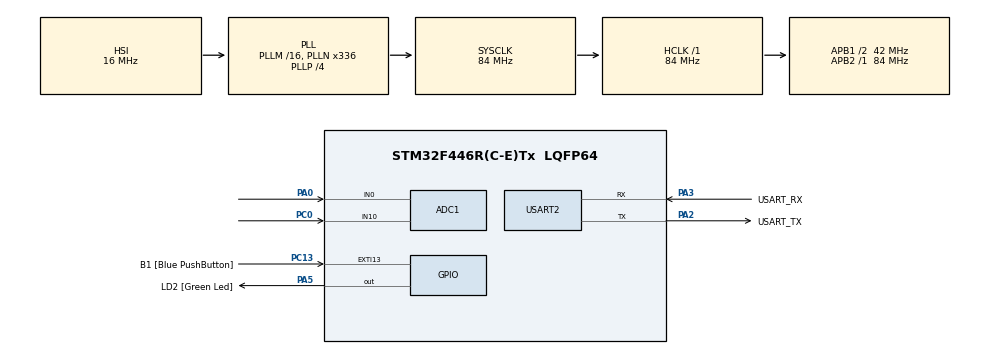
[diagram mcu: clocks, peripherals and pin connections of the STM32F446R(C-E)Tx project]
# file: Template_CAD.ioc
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ADC1.Channel-0\#ChannelRegularConversion=ADC_CHANNEL_0
ADC1.Channel-1\#ChannelRegularConversion=ADC_CHANNEL_10
ADC1.Channel-2\#ChannelRegularConversion=ADC_CHANNEL_TEMPSENSOR
ADC1.NbrOfConversion=3
ADC1.NbrOfConversionFlag=1
ADC1.Rank-0\#ChannelRegularConversion=1
ADC1.Rank-1\#ChannelRegularConversion=2
ADC1.Rank-2\#ChannelRegularConversion=3
ADC1.SamplingTime-0\#ChannelRegularConversion=ADC_SAMPLETIME_480CYCLES
ADC1.SamplingTime-1\#ChannelRegularConversion=ADC_SAMPLETIME_480CYCLES
ADC1.SamplingTime-2\#ChannelRegularConversion=ADC_SAMPLETIME_480CYCLES
ADC1.ScanConvMode=ENABLE
ADC1.master=1
Mcu.Family=STM32F4
Mcu.Name=STM32F446R(C-E)Tx
Mcu.Package=LQFP64
NVIC.PriorityGroup=NVIC_PRIORITYGROUP_0
PA0-WKUP.Signal=ADCx_IN0
PA13.GPIO_Label=TMS
PA13.Mode=Serial_Wire
PA13.Signal=SYS_JTMS-SWDIO
PA14.GPIO_Label=TCK
PA14.Mode=Serial_Wire
PA14.Signal=SYS_JTCK-SWCLK
PA2.GPIO_Label=USART_TX
PA2.Mode=Asynchronous
PA2.Signal=USART2_TX
PA3.GPIO_Label=USART_RX
PA3.Mode=Asynchronous
PA3.Signal=USART2_RX
PA5.GPIO_Label=LD2 [Green Led]
PA5.Signal=GPIO_Output
PB3.GPIO_Label=SWO
PB3.Signal=SYS_JTDO-SWO
PC0.Signal=ADCx_IN10
PC13.GPIO_Label=B1 [Blue PushButton]
PC13.GPIO_ModeDefaultEXTI=GPIO_MODE_IT_FALLING
PC13.Signal=GPXTI13
PC14-OSC32_IN.Mode=LSE-External-Oscillator
PC14-OSC32_IN.Signal=RCC_OSC32_IN
PC15-OSC32_OUT.Mode=LSE-External-Oscillator
PC15-OSC32_OUT.Signal=RCC_OSC32_OUT
PH0-OSC_IN.Mode=HSE-External-Oscillator
PH0-OSC_IN.Signal=RCC_OSC_IN
PH1-OSC_OUT.Mode=HSE-External-Oscillator
PH1-OSC_OUT.Signal=RCC_OSC_OUT
ProjectManager.HeapSize=0x200
ProjectManager.StackSize=0x400
ProjectManager.TargetToolchain=STM32CubeIDE
RCC.48MHZClocksFreq_Value=84000000
RCC.AHBFreq_Value=84000000
RCC.APB1CLKDivider=RCC_HCLK_DIV2
RCC.APB1Freq_Value=42000000
RCC.APB1TimFreq_Value=84000000
RCC.APB2Freq_Value=84000000
RCC.APB2TimFreq_Value=84000000
RCC.CortexFreq_Value=84000000
RCC.FLatency-AdvancedSettings=FLASH_LATENCY_2
RCC.HCLKFreq_Value=84000000
RCC.HSE_VALUE=8000000
RCC.HSI_VALUE=16000000
RCC.PLLN=336
RCC.PLLP=RCC_PLLP_DIV4
RCC.SYSCLKFreq_VALUE=84000000
RCC.SYSCLKSource=RCC_SYSCLKSOURCE_PLLCLK
RCC.USBFreq_Value=168000000
RCC.VCOOutputFreq_Value=336000000
SH.ADCx_IN0.0=ADC1_IN0,IN0
SH.ADCx_IN10.0=ADC1_IN10,IN10
USART2.VirtualMode=VM_ASYNC
VP_ADC1_TempSens_Input.Mode=IN-TempSens
board=NUCLEO-F446RE

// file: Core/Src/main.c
/* USER CODE BEGIN Header */
/**
  ******************************************************************************
  * @file           : main.c
  * @brief          : Main program body
  ******************************************************************************
  * @attention
  *
  * Copyright (c) 2025 STMicroelectronics.
  * All rights reserved.
  *
  * This software is licensed under terms that can be found in the LICENSE file
  * in the root directory of this software component.
  * If no LICENSE file comes with this software, it is provided AS-IS.
  *
  ******************************************************************************
  */
/* USER CODE END Header */
#include "main.h"

/* USER CODE BEGIN Includes */
#include <stdio.h>
/* USER CODE END Includes */

ADC_HandleTypeDef hadc1;

UART_HandleTypeDef huart2;

void SystemClock_Config(void);
static void MX_GPIO_Init(void);
static void MX_USART2_UART_Init(void);
static void MX_ADC1_Init(void);
/* USER CODE BEGIN PFP */
void ADC1_Init(void);
/* USER CODE END PFP */

int main(void)
{

  /* USER CODE BEGIN 1 */
	uint16_t CAD;
	uint32_t size;
	char sCAD[20] = {0};
	int32_t VSENSE;
	int32_t Temp;
	int32_t X, Y, T;
  /* USER CODE END 1 */

  /* MCU Configuration--------------------------------------------------------*/

  /* Reset of all peripherals, Initializes the Flash interface and the Systick. */
  HAL_Init();

  /* Configure the system clock */
  SystemClock_Config();

  /* Initialize all configured peripherals */
  MX_GPIO_Init();
  MX_USART2_UART_Init();
  MX_ADC1_Init();
  /* USER CODE BEGIN 2 */
  //ADC1_Init();
  /* USER CODE END 2 */

  /* Infinite loop */
  while (1)
  {

    /* USER CODE BEGIN 3 */
//	  //MODO RAIZ
//	  //Dispara uma conversão
//	  ADC1->CR2 |= ADC_CR2_SWSTART;
//	  //Espera concluir a conversão
//	  while(!(ADC1->SR & ADC_SR_EOC));
//	  //Lê o resultado
//	  CAD = ADC1->DR & 0xFFF;
//	  //Converte para string
//	  size = sprintf(sCAD,"%u\r\n",CAD);//Incluir stdio.h
//	  //Envia pela serial
//	  HAL_UART_Transmit(&huart2, sCAD, size, 100);
//	  //Delay
//	  HAL_Delay(1000);

	  //MODO NUTELLA (3 canais com sequenciador - 0 (Arduino A0), 10 (Arduino A5) e Temperatura)
	  HAL_ADC_Start(&hadc1);
	  if(HAL_ADC_PollForConversion(&hadc1, 5) == HAL_OK)
	  	  X = HAL_ADC_GetValue(&hadc1);
	  if(HAL_ADC_PollForConversion(&hadc1, 5) == HAL_OK)
	  	  Y = HAL_ADC_GetValue(&hadc1);
	  if(HAL_ADC_PollForConversion(&hadc1, 5) == HAL_OK)
	  {
		  T = HAL_ADC_GetValue(&hadc1);
		  VSENSE = T * 3300 / 4096;
		  Temp = (VSENSE - 760) * 10 / 25 + 25;
	  }

	  size = sprintf(sCAD,"X = %u\r\n", X);
	  HAL_UART_Transmit(&huart2, sCAD, size, 100);

	  size = sprintf(sCAD,"Y = %u\r\n", Y);
	  HAL_UART_Transmit(&huart2, sCAD, size, 100);

	  size = sprintf(sCAD, "CAD = %u\r\n", T);
	  HAL_UART_Transmit(&huart2, sCAD, size, 100);

	  size = sprintf(sCAD, "VSENSE = %u mV\r\n", VSENSE);
	  HAL_UART_Transmit(&huart2, sCAD, size, 100);

	  size = sprintf(sCAD, "Temp = %u graus\r\n", Temp);
	  HAL_UART_Transmit(&huart2, sCAD, size, 100);

	  HAL_Delay(1000);
  }
  /* USER CODE END 3 */
}

void SystemClock_Config(void)
{
  RCC_OscInitTypeDef RCC_OscInitStruct = {0};
  RCC_ClkInitTypeDef RCC_ClkInitStruct = {0};

  /** Configure the main internal regulator output voltage
  */
  __HAL_RCC_PWR_CLK_ENABLE();
  __HAL_PWR_VOLTAGESCALING_CONFIG(PWR_REGULATOR_VOLTAGE_SCALE3);

  /** Initializes the RCC Oscillators according to the specified parameters
  * in the RCC_OscInitTypeDef structure.
  */
  RCC_OscInitStruct.OscillatorType = RCC_OSCILLATORTYPE_HSI;
  RCC_OscInitStruct.HSIState = RCC_HSI_ON;
  RCC_OscInitStruct.HSICalibrationValue = RCC_HSICALIBRATION_DEFAULT;
  RCC_OscInitStruct.PLL.PLLState = RCC_PLL_ON;
  RCC_OscInitStruct.PLL.PLLSource = RCC_PLLSOURCE_HSI;
  RCC_OscInitStruct.PLL.PLLM = 16;
  RCC_OscInitStruct.PLL.PLLN = 336;
  RCC_OscInitStruct.PLL.PLLP = RCC_PLLP_DIV4;
  RCC_OscInitStruct.PLL.PLLQ = 2;
  RCC_OscInitStruct.PLL.PLLR = 2;
  if (HAL_RCC_OscConfig(&RCC_OscInitStruct) != HAL_OK)
  {
    Error_Handler();
  }

  /** Initializes the CPU, AHB and APB buses clocks
  */
  RCC_ClkInitStruct.ClockType = RCC_CLOCKTYPE_HCLK|RCC_CLOCKTYPE_SYSCLK
                              |RCC_CLOCKTYPE_PCLK1|RCC_CLOCKTYPE_PCLK2;
  RCC_ClkInitStruct.SYSCLKSource = RCC_SYSCLKSOURCE_PLLCLK;
  RCC_ClkInitStruct.AHBCLKDivider = RCC_SYSCLK_DIV1;
  RCC_ClkInitStruct.APB1CLKDivider = RCC_HCLK_DIV2;
  RCC_ClkInitStruct.APB2CLKDivider = RCC_HCLK_DIV1;

  if (HAL_RCC_ClockConfig(&RCC_ClkInitStruct, FLASH_LATENCY_2) != HAL_OK)
  {
    Error_Handler();
  }
}

static void MX_ADC1_Init(void)
{

  ADC_ChannelConfTypeDef sConfig = {0};

  /** Configure the global features of the ADC (Clock, Resolution, Data Alignment and number of conversion)
  */
  hadc1.Instance = ADC1;
  hadc1.Init.ClockPrescaler = ADC_CLOCK_SYNC_PCLK_DIV4;
  hadc1.Init.Resolution = ADC_RESOLUTION_12B;
  hadc1.Init.ScanConvMode = ENABLE;
  hadc1.Init.ContinuousConvMode = DISABLE;
  hadc1.Init.DiscontinuousConvMode = DISABLE;
  hadc1.Init.ExternalTrigConvEdge = ADC_EXTERNALTRIGCONVEDGE_NONE;
  hadc1.Init.ExternalTrigConv = ADC_SOFTWARE_START;
  hadc1.Init.DataAlign = ADC_DATAALIGN_RIGHT;
  hadc1.Init.NbrOfConversion = 3;
  hadc1.Init.DMAContinuousRequests = DISABLE;
  hadc1.Init.EOCSelection = ADC_EOC_SINGLE_CONV;
  if (HAL_ADC_Init(&hadc1) != HAL_OK)
  {
    Error_Handler();
  }

  /** Configure for the selected ADC regular channel its corresponding rank in the sequencer and its sample time.
  */
  sConfig.Channel = ADC_CHANNEL_0;
  sConfig.Rank = 1;
  sConfig.SamplingTime = ADC_SAMPLETIME_480CYCLES;
  if (HAL_ADC_ConfigChannel(&hadc1, &sConfig) != HAL_OK)
  {
    Error_Handler();
  }

  /** Configure for the selected ADC regular channel its corresponding rank in the sequencer and its sample time.
  */
  sConfig.Channel = ADC_CHANNEL_10;
  sConfig.Rank = 2;
  if (HAL_ADC_ConfigChannel(&hadc1, &sConfig) != HAL_OK)
  {
    Error_Handler();
  }

  /** Configure for the selected ADC regular channel its corresponding rank in the sequencer and its sample time.
  */
  sConfig.Channel = ADC_CHANNEL_TEMPSENSOR;
  sConfig.Rank = 3;
  if (HAL_ADC_ConfigChannel(&hadc1, &sConfig) != HAL_OK)
  {
    Error_Handler();
  }

}

static void MX_USART2_UART_Init(void)
{

  huart2.Instance = USART2;
  huart2.Init.BaudRate = 115200;
  huart2.Init.WordLength = UART_WORDLENGTH_8B;
  huart2.Init.StopBits = UART_STOPBITS_1;
  huart2.Init.Parity = UART_PARITY_NONE;
  huart2.Init.Mode = UART_MODE_TX_RX;
  huart2.Init.HwFlowCtl = UART_HWCONTROL_NONE;
  huart2.Init.OverSampling = UART_OVERSAMPLING_16;
  if (HAL_UART_Init(&huart2) != HAL_OK)
  {
    Error_Handler();
  }

}

static void MX_GPIO_Init(void)
{
  GPIO_InitTypeDef GPIO_InitStruct = {0};

  /* GPIO Ports Clock Enable */
  __HAL_RCC_GPIOC_CLK_ENABLE();
  __HAL_RCC_GPIOH_CLK_ENABLE();
  __HAL_RCC_GPIOA_CLK_ENABLE();
  __HAL_RCC_GPIOB_CLK_ENABLE();

  /*Configure GPIO pin Output Level */
  HAL_GPIO_WritePin(LD2_GPIO_Port, LD2_Pin, GPIO_PIN_RESET);

  /*Configure GPIO pin : B1_Pin */
  GPIO_InitStruct.Pin = B1_Pin;
  GPIO_InitStruct.Mode = GPIO_MODE_IT_FALLING;
  GPIO_InitStruct.Pull = GPIO_NOPULL;
  HAL_GPIO_Init(B1_GPIO_Port, &GPIO_InitStruct);

  /*Configure GPIO pin : LD2_Pin */
  GPIO_InitStruct.Pin = LD2_Pin;
  GPIO_InitStruct.Mode = GPIO_MODE_OUTPUT_PP;
  GPIO_InitStruct.Pull = GPIO_NOPULL;
  GPIO_InitStruct.Speed = GPIO_SPEED_FREQ_LOW;
  HAL_GPIO_Init(LD2_GPIO_Port, &GPIO_InitStruct);

}

/* USER CODE BEGIN 4 */
//Função de inicialização do ADC1 e EA0 (PA0 - Arduino A0)
//modo polling (one-shot), APB2 (PCLK2) = 42 MHz
void ADC1_Init(void)
{
	uint32_t tmpreg = 0;
	//Configurar os GPIOs
	//Ativar o clock
	RCC->AHB1ENR |= RCC_AHB1ENR_GPIOAEN;
	//Aguardar o clock estabilizar
	tmpreg = RCC->AHB1ENR;
	//Definir o modo de funcionamento analógico (11)
	GPIOA->MODER |= GPIO_MODER_MODE0;
	//Desativar pullup e pulldown
	GPIOA->PUPDR &= ~GPIO_PUPDR_PUPD0;
	//Configurar o ADC1
	//Ativar o clock
	RCC->APB2ENR |=  RCC_APB2ENR_ADC1EN;
	//Aguardar o clock estabilizar
	tmpreg = RCC->APB2ENR;
	//Desabilitar o ADC1
	ADC1->CR2 &= ~ADC_CR2_ADON;
	//Habilitar SCAN nos canais regulares
	ADC1->CR1 |= ADC_CR1_SCAN_Msk;
	//Programar a resolução (00 = 12 bits)
	ADC1->CR1 &= ~ADC_CR1_RES;
	//Ajustar o alinhamento do resultado (0 = direita)
	ADC1->CR2 &= ~ADC_CR2_ALIGN;
	//Habilitar sinalização do bit EOC no final de uma conversão
	ADC1->CR2 |= ADC_CR2_EOCS;
	//Ajustar o tempo de amostragem do canal 0 (001 = 15 ciclos de //clock)
	ADC1->SMPR2 |= ADC_SMPR2_SMP0_0;
	//Definir a sequência regular de conversão (apenas 1 //conversão, canal 0)
	ADC1->SQR1 &= ~ADC_SQR1_L_Msk;  //Limpa os bits = 1 conversão
	ADC1->SQR3 &= ~ADC_SQR3_SQ1_Msk;//Limpa os bits = canal 0
	//Ajuste o prescaler do ADC (01 = div 4)
	ADC->CCR |= ADC_CCR_ADCPRE_0;
	//Habilitar o ADC1
	ADC1->CR2 |= ADC_CR2_ADON;
}

/* USER CODE END 4 */

void Error_Handler(void)
{
  __disable_irq();
  while (1)
  {
  }
}
